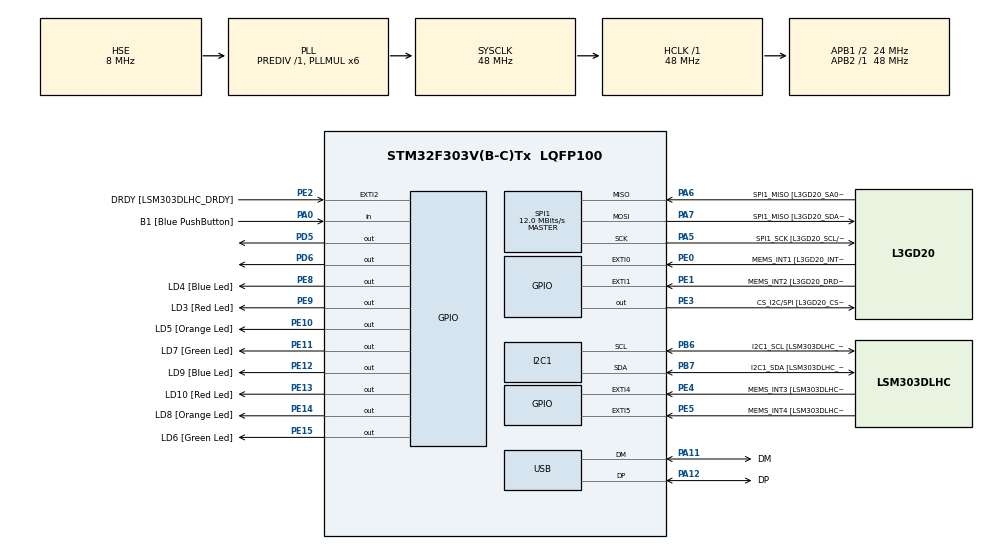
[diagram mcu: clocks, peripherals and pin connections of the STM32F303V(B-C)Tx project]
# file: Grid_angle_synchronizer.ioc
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I2C1.Timing=0x2000090E
I2C1.Timing-I2C=0x2000090E
Mcu.Family=STM32F3
Mcu.Name=STM32F303V(B-C)Tx
Mcu.Package=LQFP100
NVIC.PriorityGroup=NVIC_PRIORITYGROUP_0
PA0.GPIO_Label=B1 [Blue PushButton]
PA0.Signal=GPIO_Input
PA11.GPIO_Label=DM
PA11.Mode=Device
PA11.Signal=USB_DM
PA12.GPIO_Label=DP
PA12.Mode=Device
PA12.Signal=USB_DP
PA13.GPIO_Label=SWDIO
PA13.Mode=Serial_Wire
PA13.Signal=SYS_JTMS-SWDIO
PA14.GPIO_Label=SWCLK
PA14.Mode=Serial_Wire
PA14.Signal=SYS_JTCK-SWCLK
PA5.GPIO_Label=SPI1_SCK [L3GD20_SCL/SPC]
PA5.Mode=Full_Duplex_Master
PA5.Signal=SPI1_SCK
PA6.GPIO_Label=SPI1_MISO [L3GD20_SA0/SDO]
PA6.Mode=Full_Duplex_Master
PA6.Signal=SPI1_MISO
PA7.GPIO_Label=SPI1_MISO [L3GD20_SDA/SDI/SDO]
PA7.Mode=Full_Duplex_Master
PA7.Signal=SPI1_MOSI
PB3.GPIO_Label=SWO
PB3.Signal=SYS_JTDO-TRACESWO
PB6.GPIO_Label=I2C1_SCL [LSM303DLHC_SCL]
PB6.Mode=I2C
PB6.Signal=I2C1_SCL
PB7.GPIO_Label=I2C1_SDA [LSM303DLHC_SDA]
PB7.Mode=I2C
PB7.Signal=I2C1_SDA
PC14-OSC32_IN.GPIO_Label=OSC32_IN
PC14-OSC32_IN.Signal=RCC_OSC32_IN
PC15-OSC32_OUT.GPIO_Label=OSC32_OUT
PC15-OSC32_OUT.Signal=RCC_OSC32_OUT
PD5.Signal=GPIO_Output
PD6.Signal=GPIO_Output
PE0.GPIO_Label=MEMS_INT1 [L3GD20_INT1]
PE0.GPIO_ModeDefaultEXTI=GPIO_MODE_EVT_RISING
PE0.Signal=GPXTI0
PE1.GPIO_Label=MEMS_INT2 [L3GD20_DRDY/INT2]
PE1.GPIO_ModeDefaultEXTI=GPIO_MODE_EVT_RISING
PE1.Signal=GPXTI1
PE10.GPIO_Label=LD5 [Orange Led]
PE10.Signal=GPIO_Output
PE11.GPIO_Label=LD7 [Green Led]
PE11.Signal=GPIO_Output
PE12.GPIO_Label=LD9 [Blue Led]
PE12.Signal=GPIO_Output
PE13.GPIO_Label=LD10 [Red Led]
PE13.Signal=GPIO_Output
PE14.GPIO_Label=LD8 [Orange Led]
PE14.Signal=GPIO_Output
PE15.GPIO_Label=LD6 [Green Led]
PE15.Signal=GPIO_Output
PE2.GPIO_Label=DRDY [LSM303DLHC_DRDY]
PE2.GPIO_ModeDefaultEXTI=GPIO_MODE_EVT_RISING
PE2.Signal=GPXTI2
PE3.GPIO_Label=CS_I2C/SPI [L3GD20_CS_I2C/SPI]
PE3.Signal=GPIO_Output
PE4.GPIO_Label=MEMS_INT3 [LSM303DLHC_INT1]
PE4.GPIO_ModeDefaultEXTI=GPIO_MODE_EVT_RISING
PE4.Signal=GPXTI4
PE5.GPIO_Label=MEMS_INT4 [LSM303DLHC_INT2]
PE5.GPIO_ModeDefaultEXTI=GPIO_MODE_EVT_RISING
PE5.Signal=GPXTI5
PE8.GPIO_Label=LD4 [Blue Led]
PE8.Signal=GPIO_Output
PE9.GPIO_Label=LD3 [Red Led]
PE9.Signal=GPIO_Output
PF0-OSC_IN.GPIO_Label=OSC_IN
PF0-OSC_IN.Mode=HSE-External-Clock-Source
PF0-OSC_IN.Signal=RCC_OSC_IN
PF1-OSC_OUT.GPIO_Label=OSC_OUT
PF1-OSC_OUT.Signal=RCC_OSC_OUT
ProjectManager.HeapSize=0x200
ProjectManager.StackSize=0x400
ProjectManager.TargetToolchain=EWARM V8.32
RCC.AHBFreq_Value=48000000
RCC.APB1CLKDivider=RCC_HCLK_DIV2
RCC.APB1Freq_Value=24000000
RCC.APB1TimFreq_Value=48000000
RCC.APB2Freq_Value=48000000
RCC.APB2TimFreq_Value=48000000
RCC.CortexFreq_Value=48000000
RCC.HCLKFreq_Value=48000000
RCC.HSE_VALUE=8000000
RCC.HSI_VALUE=8000000
RCC.LSE_VALUE=32768
RCC.PLLMUL=RCC_PLL_MUL6
RCC.SYSCLKFreq_VALUE=48000000
RCC.SYSCLKSourceVirtual=RCC_SYSCLKSOURCE_PLLCLK
RCC.USBFreq_Value=48000000
SPI1.BaudRatePrescaler=SPI_BAUDRATEPRESCALER_4
SPI1.BaudRatePrescaler-Full_Duplex_Master=SPI_BAUDRATEPRESCALER_2
SPI1.CalculateBaudRate=12.0 MBits/s
SPI1.CalculateBaudRate-Full_Duplex_Master=24.0 MBits/s
SPI1.Direction=SPI_DIRECTION_2LINES
SPI1.Mode=SPI_MODE_MASTER
SPI1.Mode-Full_Duplex_Master=SPI_MODE_MASTER
SPI1.VirtualType=VM_MASTER
board=STM32F3DISCOVERY

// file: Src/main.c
/* USER CODE BEGIN Header */
/**
  ******************************************************************************
  * @file           : main.c
  * @brief          : Main program body
  ******************************************************************************
  * @attention
  *
  * <h2><center>&copy; Copyright (c) 2020 STMicroelectronics.
  * All rights reserved.</center></h2>
  *
  * This software component is licensed by ST under BSD 3-Clause license,
  * the "License"; You may not use this file except in compliance with the
  * License. You may obtain a copy of the License at:
  *                        opensource.org/licenses/BSD-3-Clause
  *
  ******************************************************************************
  */
/* USER CODE END Header */

#include "main.h"

I2C_HandleTypeDef hi2c1;

SPI_HandleTypeDef hspi1;

PCD_HandleTypeDef hpcd_USB_FS;

void SystemClock_Config(void);
static void MX_GPIO_Init(void);
static void MX_I2C1_Init(void);
static void MX_SPI1_Init(void);
static void MX_USB_PCD_Init(void);

/* USER CODE BEGIN 0 */
uint32_t DWT_Delay_Init(void)
{
    /* Disable TRC */
    CoreDebug->DEMCR &= ~CoreDebug_DEMCR_TRCENA_Msk; // ~0x01000000;
    /* Enable TRC */
    CoreDebug->DEMCR |=  CoreDebug_DEMCR_TRCENA_Msk; // 0x01000000;
    /* Disable clock cycle counter */
    DWT->CTRL &= ~DWT_CTRL_CYCCNTENA_Msk; //~0x00000001;
    /* Enable  clock cycle counter */
    DWT->CTRL |=  DWT_CTRL_CYCCNTENA_Msk; //0x00000001;
    /* Reset the clock cycle counter value */
    DWT->CYCCNT = 0;
    /* 3 NO OPERATION instructions */
    __ASM volatile ("NOP");
    __ASM volatile ("NOP");
    __ASM volatile ("NOP");
    /* Check if clock cycle counter has started */
    if(DWT->CYCCNT)
    {
       return 0; /*clock cycle counter started*/
    }
    else
    {
      return 1; /*clock cycle counter not started*/
    }
}

__STATIC_INLINE void DWT_Delay_us(volatile uint32_t au32_microseconds)
{
  uint32_t au32_initial_ticks = DWT->CYCCNT;
  uint32_t au32_ticks = (HAL_RCC_GetHCLKFreq() / 1000000);
  au32_microseconds *= au32_ticks;
  while ((DWT->CYCCNT - au32_initial_ticks) < au32_microseconds-au32_ticks);
}
/* USER CODE END 0 */

int main(void)
{

  /* MCU Configuration--------------------------------------------------------*/

  /* Reset of all peripherals, Initializes the Flash interface and the Systick. */
  HAL_Init();

  /* Configure the system clock */
  SystemClock_Config();

  /* Initialize all configured peripherals */
  MX_GPIO_Init();
  MX_I2C1_Init();
  MX_SPI1_Init();
  MX_USB_PCD_Init();
  /* USER CODE BEGIN 2 */
  DWT_Delay_Init();
  uint8_t buffer = 0;
  uint8_t ii = 0;
  /* USER CODE END 2 */

  /* Infinite loop */
  /* USER CODE BEGIN WHILE */
  while (1)
  {
    HAL_Delay(16);
    //DWT_Delay_us(16);
    HAL_GPIO_TogglePin(GPIOD,GPIO_PIN_6);
    /* USER CODE END WHILE */

  }
}

void SystemClock_Config(void)
{
  RCC_OscInitTypeDef RCC_OscInitStruct = {0};
  RCC_ClkInitTypeDef RCC_ClkInitStruct = {0};
  RCC_PeriphCLKInitTypeDef PeriphClkInit = {0};

  /** Initializes the CPU, AHB and APB busses clocks
  */
  RCC_OscInitStruct.OscillatorType = RCC_OSCILLATORTYPE_HSI|RCC_OSCILLATORTYPE_HSE;
  RCC_OscInitStruct.HSEState = RCC_HSE_BYPASS;
  RCC_OscInitStruct.HSEPredivValue = RCC_HSE_PREDIV_DIV1;
  RCC_OscInitStruct.HSIState = RCC_HSI_ON;
  RCC_OscInitStruct.HSICalibrationValue = RCC_HSICALIBRATION_DEFAULT;
  RCC_OscInitStruct.PLL.PLLState = RCC_PLL_ON;
  RCC_OscInitStruct.PLL.PLLSource = RCC_PLLSOURCE_HSE;
  RCC_OscInitStruct.PLL.PLLMUL = RCC_PLL_MUL6;
  if (HAL_RCC_OscConfig(&RCC_OscInitStruct) != HAL_OK)
  {
    Error_Handler();
  }
  /** Initializes the CPU, AHB and APB busses clocks
  */
  RCC_ClkInitStruct.ClockType = RCC_CLOCKTYPE_HCLK|RCC_CLOCKTYPE_SYSCLK
                              |RCC_CLOCKTYPE_PCLK1|RCC_CLOCKTYPE_PCLK2;
  RCC_ClkInitStruct.SYSCLKSource = RCC_SYSCLKSOURCE_PLLCLK;
  RCC_ClkInitStruct.AHBCLKDivider = RCC_SYSCLK_DIV1;
  RCC_ClkInitStruct.APB1CLKDivider = RCC_HCLK_DIV2;
  RCC_ClkInitStruct.APB2CLKDivider = RCC_HCLK_DIV1;

  if (HAL_RCC_ClockConfig(&RCC_ClkInitStruct, FLASH_LATENCY_1) != HAL_OK)
  {
    Error_Handler();
  }
  PeriphClkInit.PeriphClockSelection = RCC_PERIPHCLK_USB|RCC_PERIPHCLK_I2C1;
  PeriphClkInit.I2c1ClockSelection = RCC_I2C1CLKSOURCE_HSI;
  PeriphClkInit.USBClockSelection = RCC_USBCLKSOURCE_PLL;
  if (HAL_RCCEx_PeriphCLKConfig(&PeriphClkInit) != HAL_OK)
  {
    Error_Handler();
  }
}

static void MX_I2C1_Init(void)
{

  hi2c1.Instance = I2C1;
  hi2c1.Init.Timing = 0x2000090E;
  hi2c1.Init.OwnAddress1 = 0;
  hi2c1.Init.AddressingMode = I2C_ADDRESSINGMODE_7BIT;
  hi2c1.Init.DualAddressMode = I2C_DUALADDRESS_DISABLE;
  hi2c1.Init.OwnAddress2 = 0;
  hi2c1.Init.OwnAddress2Masks = I2C_OA2_NOMASK;
  hi2c1.Init.GeneralCallMode = I2C_GENERALCALL_DISABLE;
  hi2c1.Init.NoStretchMode = I2C_NOSTRETCH_DISABLE;
  if (HAL_I2C_Init(&hi2c1) != HAL_OK)
  {
    Error_Handler();
  }
  /** Configure Analogue filter
  */
  if (HAL_I2CEx_ConfigAnalogFilter(&hi2c1, I2C_ANALOGFILTER_ENABLE) != HAL_OK)
  {
    Error_Handler();
  }
  /** Configure Digital filter
  */
  if (HAL_I2CEx_ConfigDigitalFilter(&hi2c1, 0) != HAL_OK)
  {
    Error_Handler();
  }

}

static void MX_SPI1_Init(void)
{

  /* SPI1 parameter configuration*/
  hspi1.Instance = SPI1;
  hspi1.Init.Mode = SPI_MODE_MASTER;
  hspi1.Init.Direction = SPI_DIRECTION_2LINES;
  hspi1.Init.DataSize = SPI_DATASIZE_4BIT;
  hspi1.Init.CLKPolarity = SPI_POLARITY_LOW;
  hspi1.Init.CLKPhase = SPI_PHASE_1EDGE;
  hspi1.Init.NSS = SPI_NSS_SOFT;
  hspi1.Init.BaudRatePrescaler = SPI_BAUDRATEPRESCALER_4;
  hspi1.Init.FirstBit = SPI_FIRSTBIT_MSB;
  hspi1.Init.TIMode = SPI_TIMODE_DISABLE;
  hspi1.Init.CRCCalculation = SPI_CRCCALCULATION_DISABLE;
  hspi1.Init.CRCPolynomial = 7;
  hspi1.Init.CRCLength = SPI_CRC_LENGTH_DATASIZE;
  hspi1.Init.NSSPMode = SPI_NSS_PULSE_ENABLE;
  if (HAL_SPI_Init(&hspi1) != HAL_OK)
  {
    Error_Handler();
  }

}

static void MX_USB_PCD_Init(void)
{

  hpcd_USB_FS.Instance = USB;
  hpcd_USB_FS.Init.dev_endpoints = 8;
  hpcd_USB_FS.Init.speed = PCD_SPEED_FULL;
  hpcd_USB_FS.Init.phy_itface = PCD_PHY_EMBEDDED;
  hpcd_USB_FS.Init.low_power_enable = DISABLE;
  hpcd_USB_FS.Init.battery_charging_enable = DISABLE;
  if (HAL_PCD_Init(&hpcd_USB_FS) != HAL_OK)
  {
    Error_Handler();
  }

}

static void MX_GPIO_Init(void)
{
  GPIO_InitTypeDef GPIO_InitStruct = {0};

  /* GPIO Ports Clock Enable */
  __HAL_RCC_GPIOE_CLK_ENABLE();
  __HAL_RCC_GPIOC_CLK_ENABLE();
  __HAL_RCC_GPIOF_CLK_ENABLE();
  __HAL_RCC_GPIOA_CLK_ENABLE();
  __HAL_RCC_GPIOD_CLK_ENABLE();
  __HAL_RCC_GPIOB_CLK_ENABLE();

  /*Configure GPIO pin Output Level */
  HAL_GPIO_WritePin(GPIOE, CS_I2C_SPI_Pin|LD4_Pin|LD3_Pin|LD5_Pin
                          |LD7_Pin|LD9_Pin|LD10_Pin|LD8_Pin
                          |LD6_Pin, GPIO_PIN_RESET);

  /*Configure GPIO pin Output Level */
  HAL_GPIO_WritePin(GPIOD, GPIO_PIN_5|GPIO_PIN_6, GPIO_PIN_RESET);

  /*Configure GPIO pins : DRDY_Pin MEMS_INT3_Pin MEMS_INT4_Pin MEMS_INT1_Pin
                           MEMS_INT2_Pin */
  GPIO_InitStruct.Pin = DRDY_Pin|MEMS_INT3_Pin|MEMS_INT4_Pin|MEMS_INT1_Pin
                          |MEMS_INT2_Pin;
  GPIO_InitStruct.Mode = GPIO_MODE_EVT_RISING;
  GPIO_InitStruct.Pull = GPIO_NOPULL;
  HAL_GPIO_Init(GPIOE, &GPIO_InitStruct);

  /*Configure GPIO pins : CS_I2C_SPI_Pin LD4_Pin LD3_Pin LD5_Pin
                           LD7_Pin LD9_Pin LD10_Pin LD8_Pin
                           LD6_Pin */
  GPIO_InitStruct.Pin = CS_I2C_SPI_Pin|LD4_Pin|LD3_Pin|LD5_Pin
                          |LD7_Pin|LD9_Pin|LD10_Pin|LD8_Pin
                          |LD6_Pin;
  GPIO_InitStruct.Mode = GPIO_MODE_OUTPUT_PP;
  GPIO_InitStruct.Pull = GPIO_NOPULL;
  GPIO_InitStruct.Speed = GPIO_SPEED_FREQ_LOW;
  HAL_GPIO_Init(GPIOE, &GPIO_InitStruct);

  /*Configure GPIO pin : B1_Pin */
  GPIO_InitStruct.Pin = B1_Pin;
  GPIO_InitStruct.Mode = GPIO_MODE_INPUT;
  GPIO_InitStruct.Pull = GPIO_NOPULL;
  HAL_GPIO_Init(B1_GPIO_Port, &GPIO_InitStruct);

  /*Configure GPIO pins : PD5 PD6 */
  GPIO_InitStruct.Pin = GPIO_PIN_5|GPIO_PIN_6;
  GPIO_InitStruct.Mode = GPIO_MODE_OUTPUT_PP;
  GPIO_InitStruct.Pull = GPIO_NOPULL;
  GPIO_InitStruct.Speed = GPIO_SPEED_FREQ_LOW;
  HAL_GPIO_Init(GPIOD, &GPIO_InitStruct);

}

void Error_Handler(void)
{
}

/************************ (C) COPYRIGHT STMicroelectronics *****END OF FILE****/
